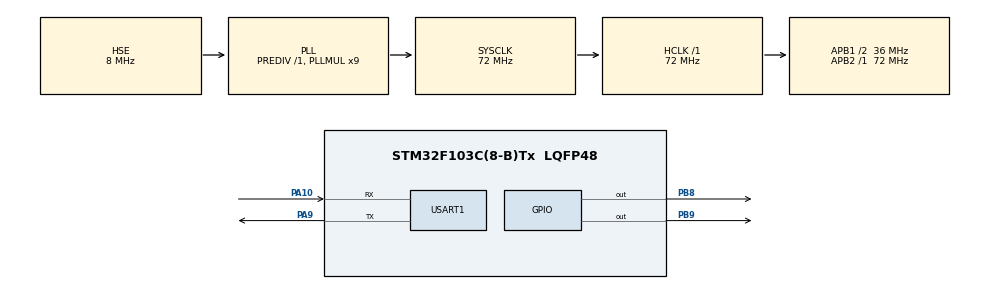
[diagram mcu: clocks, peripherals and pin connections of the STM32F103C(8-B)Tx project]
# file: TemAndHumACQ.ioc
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Mcu.Family=STM32F1
Mcu.Name=STM32F103C(8-B)Tx
Mcu.Package=LQFP48
NVIC.PriorityGroup=NVIC_PRIORITYGROUP_4
PA10.Mode=Asynchronous
PA10.Signal=USART1_RX
PA13.Mode=Serial_Wire
PA13.Signal=SYS_JTMS-SWDIO
PA14.Mode=Serial_Wire
PA14.Signal=SYS_JTCK-SWCLK
PA9.Mode=Asynchronous
PA9.Signal=USART1_TX
PB8.Signal=GPIO_Output
PB9.Signal=GPIO_Output
PD0-OSC_IN.Mode=HSE-External-Oscillator
PD0-OSC_IN.Signal=RCC_OSC_IN
PD1-OSC_OUT.Mode=HSE-External-Oscillator
PD1-OSC_OUT.Signal=RCC_OSC_OUT
ProjectManager.HeapSize=0x200
ProjectManager.StackSize=0x400
ProjectManager.TargetToolchain=MDK-ARM V5.32
RCC.AHBFreq_Value=72000000
RCC.APB1CLKDivider=RCC_HCLK_DIV2
RCC.APB1Freq_Value=36000000
RCC.APB1TimFreq_Value=72000000
RCC.APB2Freq_Value=72000000
RCC.APB2TimFreq_Value=72000000
RCC.HCLKFreq_Value=72000000
RCC.PLLMUL=RCC_PLL_MUL9
RCC.PLLSourceVirtual=RCC_PLLSOURCE_HSE
RCC.SYSCLKFreq_VALUE=72000000
RCC.SYSCLKSource=RCC_SYSCLKSOURCE_PLLCLK
RCC.USBFreq_Value=72000000
USART1.VirtualMode=VM_ASYNC
board=custom

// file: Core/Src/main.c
/* USER CODE BEGIN Header */
/**
  ******************************************************************************
  * @file           : main.c
  * @brief          : Main program body
  ******************************************************************************
  * @attention
  *
  * Copyright (c) 2026 STMicroelectronics.
  * All rights reserved.
  *
  * This software is licensed under terms that can be found in the LICENSE file
  * in the root directory of this software component.
  * If no LICENSE file comes with this software, it is provided AS-IS.
  *
  ******************************************************************************
  */
/* USER CODE END Header */
#include "main.h"

/* USER CODE BEGIN Includes */
#include <stdio.h>
#include "delay.h"
#include "i2c_soft.h"
#include "aht20.h"
/* USER CODE END Includes */

UART_HandleTypeDef huart1;

void SystemClock_Config(void);
static void MX_GPIO_Init(void);
static void MX_USART1_UART_Init(void);

int main(void)
{

  /* MCU Configuration--------------------------------------------------------*/

  /* Reset of all peripherals, Initializes the Flash interface and the Systick. */
  HAL_Init();

  /* Configure the system clock */
  SystemClock_Config();

  /* Initialize all configured peripherals */
  MX_GPIO_Init();
  MX_USART1_UART_Init();
  /* USER CODE BEGIN 2 */
  delay_init();
  i2c_soft_init();
  HAL_Delay(100);      /* 上电稳定后 AHT20 才能正常工作 */
  aht20_init();
  /* USER CODE END 2 */

  /* Infinite loop */
  /* USER CODE BEGIN WHILE */
    while (1)
  {
    float temp = 0.0f, hum = 0.0f;

    aht20_trigger();                     /* 触发测量 */
    HAL_Delay(100);                      /* 等约80ms转换完成 */
    if (aht20_read(&temp, &hum) == 0)    /* 成功返回0 */
    {
      printf("温度:%.2f℃  湿度:%.2f%%\r\n", temp, hum);
    }
    else
    {
      printf("AHT20 读取失败\r\n");
    }
    HAL_Delay(1900);                     /* 凑满2s周期 */
    /* USER CODE END WHILE */

  }
}

void SystemClock_Config(void)
{
  RCC_OscInitTypeDef RCC_OscInitStruct = {0};
  RCC_ClkInitTypeDef RCC_ClkInitStruct = {0};

  /** Initializes the RCC Oscillators according to the specified parameters
  * in the RCC_OscInitTypeDef structure.
  */
  RCC_OscInitStruct.OscillatorType = RCC_OSCILLATORTYPE_HSE;
  RCC_OscInitStruct.HSEState = RCC_HSE_ON;
  RCC_OscInitStruct.HSEPredivValue = RCC_HSE_PREDIV_DIV1;
  RCC_OscInitStruct.HSIState = RCC_HSI_ON;
  RCC_OscInitStruct.PLL.PLLState = RCC_PLL_ON;
  RCC_OscInitStruct.PLL.PLLSource = RCC_PLLSOURCE_HSE;
  RCC_OscInitStruct.PLL.PLLMUL = RCC_PLL_MUL9;
  if (HAL_RCC_OscConfig(&RCC_OscInitStruct) != HAL_OK)
  {
    Error_Handler();
  }

  /** Initializes the CPU, AHB and APB buses clocks
  */
  RCC_ClkInitStruct.ClockType = RCC_CLOCKTYPE_HCLK|RCC_CLOCKTYPE_SYSCLK
                              |RCC_CLOCKTYPE_PCLK1|RCC_CLOCKTYPE_PCLK2;
  RCC_ClkInitStruct.SYSCLKSource = RCC_SYSCLKSOURCE_PLLCLK;
  RCC_ClkInitStruct.AHBCLKDivider = RCC_SYSCLK_DIV1;
  RCC_ClkInitStruct.APB1CLKDivider = RCC_HCLK_DIV2;
  RCC_ClkInitStruct.APB2CLKDivider = RCC_HCLK_DIV1;

  if (HAL_RCC_ClockConfig(&RCC_ClkInitStruct, FLASH_LATENCY_2) != HAL_OK)
  {
    Error_Handler();
  }
}

static void MX_USART1_UART_Init(void)
{

  huart1.Instance = USART1;
  huart1.Init.BaudRate = 115200;
  huart1.Init.WordLength = UART_WORDLENGTH_8B;
  huart1.Init.StopBits = UART_STOPBITS_1;
  huart1.Init.Parity = UART_PARITY_NONE;
  huart1.Init.Mode = UART_MODE_TX_RX;
  huart1.Init.HwFlowCtl = UART_HWCONTROL_NONE;
  huart1.Init.OverSampling = UART_OVERSAMPLING_16;
  if (HAL_UART_Init(&huart1) != HAL_OK)
  {
    Error_Handler();
  }

}

static void MX_GPIO_Init(void)
{
  GPIO_InitTypeDef GPIO_InitStruct = {0};

  /* GPIO Ports Clock Enable */
  __HAL_RCC_GPIOD_CLK_ENABLE();
  __HAL_RCC_GPIOA_CLK_ENABLE();
  __HAL_RCC_GPIOB_CLK_ENABLE();

  /*Configure GPIO pin Output Level */
  HAL_GPIO_WritePin(GPIOB, GPIO_PIN_8|GPIO_PIN_9, GPIO_PIN_RESET);

  /*Configure GPIO pins : PB8 PB9 */
  GPIO_InitStruct.Pin = GPIO_PIN_8|GPIO_PIN_9;
  GPIO_InitStruct.Mode = GPIO_MODE_OUTPUT_PP;
  GPIO_InitStruct.Pull = GPIO_NOPULL;
  GPIO_InitStruct.Speed = GPIO_SPEED_FREQ_LOW;
  HAL_GPIO_Init(GPIOB, &GPIO_InitStruct);

}

/* USER CODE BEGIN 4 */

#include <stdio.h>
int fputc(int ch, FILE *f){
  HAL_UART_Transmit(&huart1, (uint8_t*)&ch, 1, 0xFFFF);
  return ch;
}

/* USER CODE END 4 */

void Error_Handler(void)
{
  __disable_irq();
  while (1)
  {
  }
}
